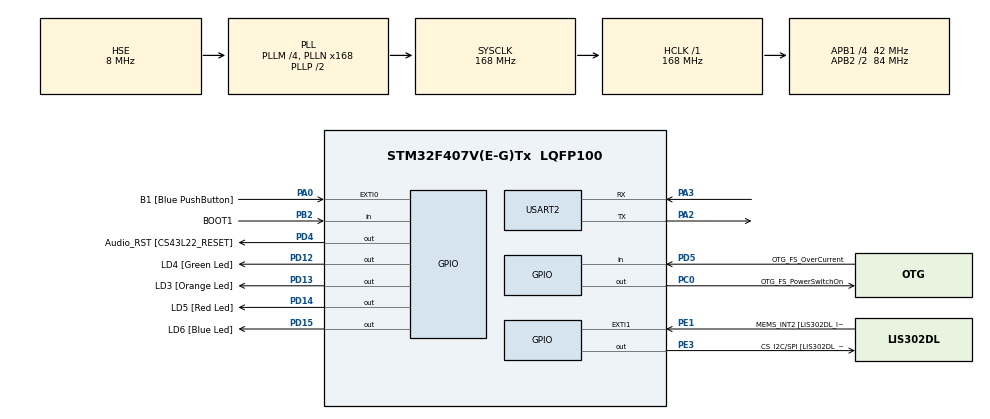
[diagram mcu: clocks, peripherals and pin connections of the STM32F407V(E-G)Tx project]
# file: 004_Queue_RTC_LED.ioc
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Mcu.Family=STM32F4
Mcu.Name=STM32F407V(E-G)Tx
Mcu.Package=LQFP100
NVIC.PriorityGroup=NVIC_PRIORITYGROUP_4
NVIC.TIM6_DAC_IRQn=true\:15\:0\:false\:false\:true\:false\:true\:true
NVIC.TimeBase=TIM6_DAC_IRQn
NVIC.TimeBaseIP=TIM6
NVIC.USART2_IRQn=true\:6\:0\:true\:false\:true\:true\:true\:true
PA0-WKUP.GPIO_Label=B1 [Blue PushButton]
PA0-WKUP.Signal=GPXTI0
PA10.GPIO_Label=OTG_FS_ID
PA10.GPIO_Mode=GPIO_MODE_AF_PP
PA10.GPIO_PuPd=GPIO_NOPULL
PA10.GPIO_Speed=GPIO_SPEED_FREQ_LOW
PA10.Signal=USB_OTG_FS_ID
PA11.GPIO_Label=OTG_FS_DM
PA11.GPIO_Mode=GPIO_MODE_AF_PP
PA11.GPIO_PuPd=GPIO_NOPULL
PA11.GPIO_Speed=GPIO_SPEED_FREQ_LOW
PA11.Signal=USB_OTG_FS_DM
PA12.GPIO_Label=OTG_FS_DP
PA12.GPIO_Mode=GPIO_MODE_AF_PP
PA12.GPIO_PuPd=GPIO_NOPULL
PA12.GPIO_Speed=GPIO_SPEED_FREQ_LOW
PA12.Signal=USB_OTG_FS_DP
PA13.GPIO_Label=SWDIO
PA13.Mode=Serial_Wire
PA13.Signal=SYS_JTMS-SWDIO
PA14.GPIO_Label=SWCLK
PA14.Mode=Serial_Wire
PA14.Signal=SYS_JTCK-SWCLK
PA2.Mode=Asynchronous
PA2.Signal=USART2_TX
PA3.Mode=Asynchronous
PA3.Signal=USART2_RX
PA4.GPIO_Label=I2S3_WS [CS43L22_LRCK]
PA4.GPIO_Mode=GPIO_MODE_AF_PP
PA4.GPIO_PuPd=GPIO_NOPULL
PA4.GPIO_Speed=GPIO_SPEED_FREQ_LOW
PA4.Signal=I2S3_WS
PA5.GPIO_Label=SPI1_SCK [LIS302DL_SCL/SPC]
PA5.GPIO_Mode=GPIO_MODE_AF_PP
PA5.GPIO_PuPd=GPIO_NOPULL
PA5.GPIO_Speed=GPIO_SPEED_FREQ_LOW
PA5.Signal=SPI1_SCK
PA6.GPIO_Label=SPI1_MISO [LIS302DL_SDO]
PA6.GPIO_Mode=GPIO_MODE_AF_PP
PA6.GPIO_PuPd=GPIO_NOPULL
PA6.GPIO_Speed=GPIO_SPEED_FREQ_LOW
PA6.Signal=SPI1_MISO
PA7.GPIO_Label=SPI1_MOSI [LIS302DL_SDA/SDI/SDO]
PA7.GPIO_Mode=GPIO_MODE_AF_PP
PA7.GPIO_PuPd=GPIO_NOPULL
PA7.GPIO_Speed=GPIO_SPEED_FREQ_LOW
PA7.Signal=SPI1_MOSI
PA9.GPIO_Label=VBUS_FS
PA9.GPIO_Mode=GPIO_MODE_INPUT
PA9.GPIO_PuPd=GPIO_NOPULL
PA9.Signal=USB_OTG_FS_VBUS
PB10.GPIO_Label=CLK_IN [MP45DT02_CLK]
PB10.GPIO_Mode=GPIO_MODE_AF_PP
PB10.GPIO_PuPd=GPIO_NOPULL
PB10.GPIO_Speed=GPIO_SPEED_FREQ_LOW
PB10.Signal=I2S2_CK
PB2.GPIO_Label=BOOT1
PB2.GPIO_Mode=GPIO_MODE_INPUT
PB2.GPIO_PuPd=GPIO_NOPULL
PB2.Signal=GPIO_Input
PB3.GPIO_Label=SWO
PB3.Signal=SYS_JTDO-SWO
PB6.GPIO_Label=Audio_SCL [CS43L22_SCL]
PB6.GPIO_Mode=GPIO_MODE_AF_OD
PB6.GPIO_PuPd=GPIO_NOPULL
PB6.GPIO_Speed=GPIO_SPEED_FREQ_LOW
PB6.Signal=I2C1_SCL
PB9.GPIO_Label=Audio_SDA [CS43L22_SDA]
PB9.GPIO_Mode=GPIO_MODE_AF_OD
PB9.GPIO_PuPd=GPIO_NOPULL
PB9.GPIO_Speed=GPIO_SPEED_FREQ_LOW
PB9.Signal=I2C1_SDA
PC0.GPIO_Label=OTG_FS_PowerSwitchOn
PC0.GPIO_PuPd=GPIO_NOPULL
PC0.GPIO_Speed=GPIO_SPEED_FREQ_LOW
PC0.PinState=GPIO_PIN_SET
PC0.Signal=GPIO_Output
PC10.GPIO_Label=I2S3_SCK [CS43L22_SCLK]
PC10.GPIO_Mode=GPIO_MODE_AF_PP
PC10.GPIO_PuPd=GPIO_NOPULL
PC10.GPIO_Speed=GPIO_SPEED_FREQ_LOW
PC10.Signal=I2S3_CK
PC12.GPIO_Label=I2S3_SD [CS43L22_SDIN]
PC12.GPIO_Mode=GPIO_MODE_AF_PP
PC12.GPIO_PuPd=GPIO_NOPULL
PC12.GPIO_Speed=GPIO_SPEED_FREQ_LOW
PC12.Signal=I2S3_SD
PC14-OSC32_IN.GPIO_Label=PC14-OSC32_IN
PC14-OSC32_IN.Signal=RCC_OSC32_IN
PC15-OSC32_OUT.GPIO_Label=PC15-OSC32_OUT
PC15-OSC32_OUT.Signal=RCC_OSC32_OUT
PC3.GPIO_Label=PDM_OUT [MP45DT02_DOUT]
PC3.GPIO_Mode=GPIO_MODE_AF_PP
PC3.GPIO_PuPd=GPIO_NOPULL
PC3.GPIO_Speed=GPIO_SPEED_FREQ_LOW
PC3.Signal=I2S2_SD
PC7.GPIO_Label=I2S3_MCK [CS43L22_MCLK]
PC7.GPIO_Mode=GPIO_MODE_AF_PP
PC7.GPIO_PuPd=GPIO_NOPULL
PC7.GPIO_Speed=GPIO_SPEED_FREQ_LOW
PC7.Signal=I2S3_MCK
PD12.GPIO_Label=LD4 [Green Led]
PD12.GPIO_PuPd=GPIO_NOPULL
PD12.GPIO_Speed=GPIO_SPEED_FREQ_LOW
PD12.Signal=GPIO_Output
PD13.GPIO_Label=LD3 [Orange Led]
PD13.GPIO_PuPd=GPIO_NOPULL
PD13.GPIO_Speed=GPIO_SPEED_FREQ_LOW
PD13.Signal=GPIO_Output
PD14.GPIO_Label=LD5 [Red Led]
PD14.GPIO_PuPd=GPIO_NOPULL
PD14.GPIO_Speed=GPIO_SPEED_FREQ_LOW
PD14.Signal=GPIO_Output
PD15.GPIO_Label=LD6 [Blue Led]
PD15.GPIO_PuPd=GPIO_NOPULL
PD15.GPIO_Speed=GPIO_SPEED_FREQ_LOW
PD15.Signal=GPIO_Output
PD4.GPIO_Label=Audio_RST [CS43L22_RESET]
PD4.GPIO_PuPd=GPIO_NOPULL
PD4.GPIO_Speed=GPIO_SPEED_FREQ_LOW
PD4.Signal=GPIO_Output
PD5.GPIO_Label=OTG_FS_OverCurrent
PD5.GPIO_Mode=GPIO_MODE_INPUT
PD5.GPIO_PuPd=GPIO_NOPULL
PD5.Signal=GPIO_Input
PE1.GPIO_Label=MEMS_INT2 [LIS302DL_INT2]
PE1.GPIO_ModeDefaultEXTI=GPIO_MODE_EVT_RISING
PE1.GPIO_PuPd=GPIO_NOPULL
PE1.Signal=GPXTI1
PE3.GPIO_Label=CS_I2C/SPI [LIS302DL_CS_I2C/SPI]
PE3.GPIO_PuPd=GPIO_NOPULL
PE3.GPIO_Speed=GPIO_SPEED_FREQ_LOW
PE3.Signal=GPIO_Output
PH0-OSC_IN.GPIO_Label=PH0-OSC_IN
PH0-OSC_IN.Mode=HSE-External-Oscillator
PH0-OSC_IN.Signal=RCC_OSC_IN
PH1-OSC_OUT.GPIO_Label=PH1-OSC_OUT
PH1-OSC_OUT.Mode=HSE-External-Oscillator
PH1-OSC_OUT.Signal=RCC_OSC_OUT
ProjectManager.HeapSize=0x200
ProjectManager.StackSize=0x400
ProjectManager.TargetToolchain=CMake
RCC.48MHZClocksFreq_Value=48000000
RCC.AHBFreq_Value=168000000
RCC.APB1CLKDivider=RCC_HCLK_DIV4
RCC.APB1Freq_Value=42000000
RCC.APB1TimFreq_Value=84000000
RCC.APB2CLKDivider=RCC_HCLK_DIV2
RCC.APB2Freq_Value=84000000
RCC.APB2TimFreq_Value=168000000
RCC.CortexFreq_Value=168000000
RCC.HCLKFreq_Value=168000000
RCC.HSE_VALUE=8000000
RCC.HSI_VALUE=16000000
RCC.LSE_VALUE=32768
RCC.PLLM=4
RCC.PLLN=168
RCC.PLLQ=7
RCC.PLLSourceVirtual=RCC_PLLSOURCE_HSE
RCC.SYSCLKFreq_VALUE=168000000
RCC.SYSCLKSource=RCC_SYSCLKSOURCE_PLLCLK
RCC.VCOOutputFreq_Value=336000000
RTC.HourFormat=RTC_HOURFORMAT_12
USART2.VirtualMode=VM_ASYNC
VP_RTC_VS_RTC_Activate.Mode=RTC_Enabled
VP_RTC_VS_RTC_Calendar.Mode=RTC_Calendar
VP_SYS_VS_tim6.Mode=TIM6
board=STM32F407G-DISC1

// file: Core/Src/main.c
/* USER CODE BEGIN Header */
/**
  ******************************************************************************
  * @file           : main.c
  * @brief          : Main program body
  ******************************************************************************
  * @attention
  *
  * Copyright (c) 2026 STMicroelectronics.
  * All rights reserved.
  *
  * This software is licensed under terms that can be found in the LICENSE file
  * in the root directory of this software component.
  * If no LICENSE file comes with this software, it is provided AS-IS.
  *
  ******************************************************************************
  */
/* USER CODE END Header */
#include "main.h"

/* USER CODE BEGIN Includes */
#include "FreeRTOS.h"
#include "task.h"
#include "task_handler.h"
#include "led_effect.h"
#include "rtc.h"
/* USER CODE END Includes */

RTC_HandleTypeDef hrtc;

UART_HandleTypeDef huart2;

/* USER CODE BEGIN PV */
uint8_t user_data;
/* USER CODE END PV */

void SystemClock_Config(void);
static void MX_GPIO_Init(void);
static void MX_USART2_UART_Init(void);
static void MX_RTC_Init(void);

int main(void)
{

  /* USER CODE BEGIN 1 */
  BaseType_t status;
  /* USER CODE END 1 */

  /* MCU Configuration--------------------------------------------------------*/

  /* Reset of all peripherals, Initializes the Flash interface and the Systick. */
  HAL_Init();

  /* Configure the system clock */
  SystemClock_Config();

  /* Initialize all configured peripherals */
  MX_GPIO_Init();
  MX_USART2_UART_Init();
  MX_RTC_Init();
  /* USER CODE BEGIN 2 */
  status = xTaskCreate(menu_handler, "menu_handler", 200, NULL, 2, get_menu_task());
  configASSERT(status == pdPASS);

  status = xTaskCreate(led_handler, "led_handler", 200, NULL, 2, get_led_task());
  configASSERT(status == pdPASS);

  status = xTaskCreate(rtc_handler, "rtc_handler", 200, NULL, 2, get_rtc_task());
  configASSERT(status == pdPASS);

  status = xTaskCreate(command_handler, "command_handler", 200, NULL, 2, get_command_task());
  configASSERT(status == pdPASS);

  status = xTaskCreate(print_handler, "print_handler", 200, NULL, 2, get_print_task());
  configASSERT(status == pdPASS);

  init_queues();
  led_init_timer();
  status = set_huart_print(&huart2);
  configASSERT(status == pdPASS);

  status = set_rtc_handler(&hrtc);
  configASSERT(status == pdPASS);

  // Start data reception
  HAL_UART_Receive_IT(&huart2, (uint8_t*)&user_data, 1);

  vTaskStartScheduler();
  /* USER CODE END 2 */

  /* Infinite loop */
  while (1)
  {

  }
}

void SystemClock_Config(void)
{
  RCC_OscInitTypeDef RCC_OscInitStruct = {0};
  RCC_ClkInitTypeDef RCC_ClkInitStruct = {0};

  /** Configure the main internal regulator output voltage
  */
  __HAL_RCC_PWR_CLK_ENABLE();
  __HAL_PWR_VOLTAGESCALING_CONFIG(PWR_REGULATOR_VOLTAGE_SCALE1);

  /** Initializes the RCC Oscillators according to the specified parameters
  * in the RCC_OscInitTypeDef structure.
  */
  RCC_OscInitStruct.OscillatorType = RCC_OSCILLATORTYPE_LSI|RCC_OSCILLATORTYPE_HSE;
  RCC_OscInitStruct.HSEState = RCC_HSE_ON;
  RCC_OscInitStruct.LSIState = RCC_LSI_ON;
  RCC_OscInitStruct.PLL.PLLState = RCC_PLL_ON;
  RCC_OscInitStruct.PLL.PLLSource = RCC_PLLSOURCE_HSE;
  RCC_OscInitStruct.PLL.PLLM = 4;
  RCC_OscInitStruct.PLL.PLLN = 168;
  RCC_OscInitStruct.PLL.PLLP = RCC_PLLP_DIV2;
  RCC_OscInitStruct.PLL.PLLQ = 7;
  if (HAL_RCC_OscConfig(&RCC_OscInitStruct) != HAL_OK)
  {
    Error_Handler();
  }

  /** Initializes the CPU, AHB and APB buses clocks
  */
  RCC_ClkInitStruct.ClockType = RCC_CLOCKTYPE_HCLK|RCC_CLOCKTYPE_SYSCLK
                              |RCC_CLOCKTYPE_PCLK1|RCC_CLOCKTYPE_PCLK2;
  RCC_ClkInitStruct.SYSCLKSource = RCC_SYSCLKSOURCE_PLLCLK;
  RCC_ClkInitStruct.AHBCLKDivider = RCC_SYSCLK_DIV1;
  RCC_ClkInitStruct.APB1CLKDivider = RCC_HCLK_DIV4;
  RCC_ClkInitStruct.APB2CLKDivider = RCC_HCLK_DIV2;

  if (HAL_RCC_ClockConfig(&RCC_ClkInitStruct, FLASH_LATENCY_5) != HAL_OK)
  {
    Error_Handler();
  }
}

static void MX_RTC_Init(void)
{

  RTC_TimeTypeDef sTime = {0};
  RTC_DateTypeDef sDate = {0};

  /** Initialize RTC Only
  */
  hrtc.Instance = RTC;
  hrtc.Init.HourFormat = RTC_HOURFORMAT_12;
  hrtc.Init.AsynchPrediv = 127;
  hrtc.Init.SynchPrediv = 255;
  hrtc.Init.OutPut = RTC_OUTPUT_DISABLE;
  hrtc.Init.OutPutPolarity = RTC_OUTPUT_POLARITY_HIGH;
  hrtc.Init.OutPutType = RTC_OUTPUT_TYPE_OPENDRAIN;
  if (HAL_RTC_Init(&hrtc) != HAL_OK)
  {
    Error_Handler();
  }

  /** Initialize RTC and set the Time and Date
  */
  sTime.Hours = 0x1;
  sTime.Minutes = 0x0;
  sTime.Seconds = 0x0;
  sTime.TimeFormat = RTC_HOURFORMAT12_AM;
  sTime.DayLightSaving = RTC_DAYLIGHTSAVING_NONE;
  sTime.StoreOperation = RTC_STOREOPERATION_RESET;
  if (HAL_RTC_SetTime(&hrtc, &sTime, RTC_FORMAT_BCD) != HAL_OK)
  {
    Error_Handler();
  }
  sDate.WeekDay = RTC_WEEKDAY_MONDAY;
  sDate.Month = RTC_MONTH_JANUARY;
  sDate.Date = 0x1;
  sDate.Year = 0x0;

  if (HAL_RTC_SetDate(&hrtc, &sDate, RTC_FORMAT_BCD) != HAL_OK)
  {
    Error_Handler();
  }

}

static void MX_USART2_UART_Init(void)
{

  huart2.Instance = USART2;
  huart2.Init.BaudRate = 115200;
  huart2.Init.WordLength = UART_WORDLENGTH_8B;
  huart2.Init.StopBits = UART_STOPBITS_1;
  huart2.Init.Parity = UART_PARITY_NONE;
  huart2.Init.Mode = UART_MODE_TX_RX;
  huart2.Init.HwFlowCtl = UART_HWCONTROL_NONE;
  huart2.Init.OverSampling = UART_OVERSAMPLING_16;
  if (HAL_UART_Init(&huart2) != HAL_OK)
  {
    Error_Handler();
  }

}

static void MX_GPIO_Init(void)
{
  GPIO_InitTypeDef GPIO_InitStruct = {0};

  /* GPIO Ports Clock Enable */
  __HAL_RCC_GPIOE_CLK_ENABLE();
  __HAL_RCC_GPIOC_CLK_ENABLE();
  __HAL_RCC_GPIOH_CLK_ENABLE();
  __HAL_RCC_GPIOA_CLK_ENABLE();
  __HAL_RCC_GPIOB_CLK_ENABLE();
  __HAL_RCC_GPIOD_CLK_ENABLE();

  /*Configure GPIO pin Output Level */
  HAL_GPIO_WritePin(CS_I2C_SPI_GPIO_Port, CS_I2C_SPI_Pin, GPIO_PIN_RESET);

  /*Configure GPIO pin Output Level */
  HAL_GPIO_WritePin(OTG_FS_PowerSwitchOn_GPIO_Port, OTG_FS_PowerSwitchOn_Pin, GPIO_PIN_SET);

  /*Configure GPIO pin Output Level */
  HAL_GPIO_WritePin(GPIOD, LD4_Pin|LD3_Pin|LD5_Pin|LD6_Pin
                          |Audio_RST_Pin, GPIO_PIN_RESET);

  /*Configure GPIO pin : CS_I2C_SPI_Pin */
  GPIO_InitStruct.Pin = CS_I2C_SPI_Pin;
  GPIO_InitStruct.Mode = GPIO_MODE_OUTPUT_PP;
  GPIO_InitStruct.Pull = GPIO_NOPULL;
  GPIO_InitStruct.Speed = GPIO_SPEED_FREQ_LOW;
  HAL_GPIO_Init(CS_I2C_SPI_GPIO_Port, &GPIO_InitStruct);

  /*Configure GPIO pin : OTG_FS_PowerSwitchOn_Pin */
  GPIO_InitStruct.Pin = OTG_FS_PowerSwitchOn_Pin;
  GPIO_InitStruct.Mode = GPIO_MODE_OUTPUT_PP;
  GPIO_InitStruct.Pull = GPIO_NOPULL;
  GPIO_InitStruct.Speed = GPIO_SPEED_FREQ_LOW;
  HAL_GPIO_Init(OTG_FS_PowerSwitchOn_GPIO_Port, &GPIO_InitStruct);

  /*Configure GPIO pin : PDM_OUT_Pin */
  GPIO_InitStruct.Pin = PDM_OUT_Pin;
  GPIO_InitStruct.Mode = GPIO_MODE_AF_PP;
  GPIO_InitStruct.Pull = GPIO_NOPULL;
  GPIO_InitStruct.Speed = GPIO_SPEED_FREQ_LOW;
  GPIO_InitStruct.Alternate = GPIO_AF5_SPI2;
  HAL_GPIO_Init(PDM_OUT_GPIO_Port, &GPIO_InitStruct);

  /*Configure GPIO pin : B1_Pin */
  GPIO_InitStruct.Pin = B1_Pin;
  GPIO_InitStruct.Mode = GPIO_MODE_IT_RISING;
  GPIO_InitStruct.Pull = GPIO_NOPULL;
  HAL_GPIO_Init(B1_GPIO_Port, &GPIO_InitStruct);

  /*Configure GPIO pin : I2S3_WS_Pin */
  GPIO_InitStruct.Pin = I2S3_WS_Pin;
  GPIO_InitStruct.Mode = GPIO_MODE_AF_PP;
  GPIO_InitStruct.Pull = GPIO_NOPULL;
  GPIO_InitStruct.Speed = GPIO_SPEED_FREQ_LOW;
  GPIO_InitStruct.Alternate = GPIO_AF6_SPI3;
  HAL_GPIO_Init(I2S3_WS_GPIO_Port, &GPIO_InitStruct);

  /*Configure GPIO pins : SPI1_SCK_Pin SPI1_MISO_Pin SPI1_MOSI_Pin */
  GPIO_InitStruct.Pin = SPI1_SCK_Pin|SPI1_MISO_Pin|SPI1_MOSI_Pin;
  GPIO_InitStruct.Mode = GPIO_MODE_AF_PP;
  GPIO_InitStruct.Pull = GPIO_NOPULL;
  GPIO_InitStruct.Speed = GPIO_SPEED_FREQ_LOW;
  GPIO_InitStruct.Alternate = GPIO_AF5_SPI1;
  HAL_GPIO_Init(GPIOA, &GPIO_InitStruct);

  /*Configure GPIO pin : BOOT1_Pin */
  GPIO_InitStruct.Pin = BOOT1_Pin;
  GPIO_InitStruct.Mode = GPIO_MODE_INPUT;
  GPIO_InitStruct.Pull = GPIO_NOPULL;
  HAL_GPIO_Init(BOOT1_GPIO_Port, &GPIO_InitStruct);

  /*Configure GPIO pin : CLK_IN_Pin */
  GPIO_InitStruct.Pin = CLK_IN_Pin;
  GPIO_InitStruct.Mode = GPIO_MODE_AF_PP;
  GPIO_InitStruct.Pull = GPIO_NOPULL;
  GPIO_InitStruct.Speed = GPIO_SPEED_FREQ_LOW;
  GPIO_InitStruct.Alternate = GPIO_AF5_SPI2;
  HAL_GPIO_Init(CLK_IN_GPIO_Port, &GPIO_InitStruct);

  /*Configure GPIO pins : LD4_Pin LD3_Pin LD5_Pin LD6_Pin
                           Audio_RST_Pin */
  GPIO_InitStruct.Pin = LD4_Pin|LD3_Pin|LD5_Pin|LD6_Pin
                          |Audio_RST_Pin;
  GPIO_InitStruct.Mode = GPIO_MODE_OUTPUT_PP;
  GPIO_InitStruct.Pull = GPIO_NOPULL;
  GPIO_InitStruct.Speed = GPIO_SPEED_FREQ_LOW;
  HAL_GPIO_Init(GPIOD, &GPIO_InitStruct);

  /*Configure GPIO pins : I2S3_MCK_Pin I2S3_SCK_Pin I2S3_SD_Pin */
  GPIO_InitStruct.Pin = I2S3_MCK_Pin|I2S3_SCK_Pin|I2S3_SD_Pin;
  GPIO_InitStruct.Mode = GPIO_MODE_AF_PP;
  GPIO_InitStruct.Pull = GPIO_NOPULL;
  GPIO_InitStruct.Speed = GPIO_SPEED_FREQ_LOW;
  GPIO_InitStruct.Alternate = GPIO_AF6_SPI3;
  HAL_GPIO_Init(GPIOC, &GPIO_InitStruct);

  /*Configure GPIO pin : VBUS_FS_Pin */
  GPIO_InitStruct.Pin = VBUS_FS_Pin;
  GPIO_InitStruct.Mode = GPIO_MODE_INPUT;
  GPIO_InitStruct.Pull = GPIO_NOPULL;
  HAL_GPIO_Init(VBUS_FS_GPIO_Port, &GPIO_InitStruct);

  /*Configure GPIO pins : OTG_FS_ID_Pin OTG_FS_DM_Pin OTG_FS_DP_Pin */
  GPIO_InitStruct.Pin = OTG_FS_ID_Pin|OTG_FS_DM_Pin|OTG_FS_DP_Pin;
  GPIO_InitStruct.Mode = GPIO_MODE_AF_PP;
  GPIO_InitStruct.Pull = GPIO_NOPULL;
  GPIO_InitStruct.Speed = GPIO_SPEED_FREQ_LOW;
  GPIO_InitStruct.Alternate = GPIO_AF10_OTG_FS;
  HAL_GPIO_Init(GPIOA, &GPIO_InitStruct);

  /*Configure GPIO pin : OTG_FS_OverCurrent_Pin */
  GPIO_InitStruct.Pin = OTG_FS_OverCurrent_Pin;
  GPIO_InitStruct.Mode = GPIO_MODE_INPUT;
  GPIO_InitStruct.Pull = GPIO_NOPULL;
  HAL_GPIO_Init(OTG_FS_OverCurrent_GPIO_Port, &GPIO_InitStruct);

  /*Configure GPIO pins : Audio_SCL_Pin Audio_SDA_Pin */
  GPIO_InitStruct.Pin = Audio_SCL_Pin|Audio_SDA_Pin;
  GPIO_InitStruct.Mode = GPIO_MODE_AF_OD;
  GPIO_InitStruct.Pull = GPIO_NOPULL;
  GPIO_InitStruct.Speed = GPIO_SPEED_FREQ_LOW;
  GPIO_InitStruct.Alternate = GPIO_AF4_I2C1;
  HAL_GPIO_Init(GPIOB, &GPIO_InitStruct);

  /*Configure GPIO pin : MEMS_INT2_Pin */
  GPIO_InitStruct.Pin = MEMS_INT2_Pin;
  GPIO_InitStruct.Mode = GPIO_MODE_EVT_RISING;
  GPIO_InitStruct.Pull = GPIO_NOPULL;
  HAL_GPIO_Init(MEMS_INT2_GPIO_Port, &GPIO_InitStruct);

}

/* USER CODE BEGIN 4 */
void HAL_UART_RxCpltCallback(UART_HandleTypeDef *huart)
{
  BaseType_t xHigherPriorityTaskWoken = pdFALSE;
  QueueHandle_t queue = get_input_data_queue();

  BaseType_t status = xQueueIsQueueFullFromISR(queue);

  if (status == pdFALSE)
  {
    // Queue is not full
    xQueueSendToBackFromISR(queue, &user_data, NULL);
  } else if (user_data == '\r')
  {
    // Queue is full but last bit received was the end
    uint8_t dummy;
    xQueueReceiveFromISR(queue, &dummy, NULL);
    xQueueSendToBackFromISR(queue, &user_data, NULL);
  }

  if (user_data == '\r')
  {

    TaskHandle_t command_handle = *get_command_task();

    xTaskNotifyFromISR(command_handle, 0, eNoAction, &xHigherPriorityTaskWoken);
  }

  HAL_UART_Receive_IT(&huart2, (uint8_t*)&user_data, 1);

  portYIELD_FROM_ISR(xHigherPriorityTaskWoken);
}
/* USER CODE END 4 */

void HAL_TIM_PeriodElapsedCallback(TIM_HandleTypeDef *htim)
{
  if (htim->Instance == TIM6)
  {
    HAL_IncTick();
  }
}

void Error_Handler(void)
{
  __disable_irq();
  while (1)
  {
  }
}
